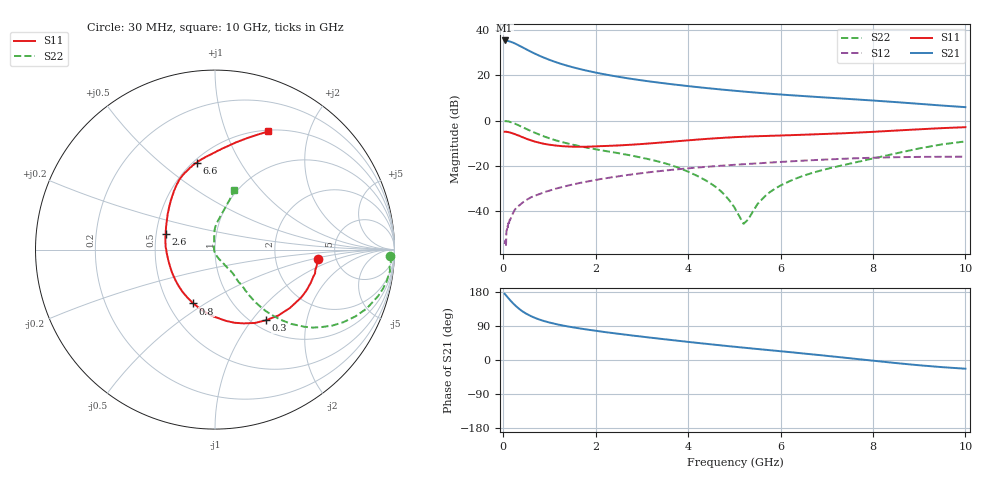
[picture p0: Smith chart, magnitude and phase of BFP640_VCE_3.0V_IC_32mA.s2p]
! Infineon Technologies  Discrete & RF Semiconductors
! BFP640
! VCE =  3.0 V,  IC =  32 mA
! Common Emitter S-Parameters:  Apr 2013
# GHz  S  MA  R  50
!  f  S11  S21  S12  S22
! GHz  MAG  ANG  MAG  ANG  MAG  ANG  MAG  ANG
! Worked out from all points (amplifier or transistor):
!   99 points, 30 MHz to 10 GHz, reference 50 ohm
!   highest |S21| = 35.5 dB at 30 MHz (marker M1)
!   |S21| within 3 dB of that: start of sweep to 414.1 MHz
!   unconditionally stable (mu >= 1): 2.168 GHz to end of sweep
!   at 350 MHz: K = 0.38, MSG = 35.2 dB, |S12| = -37.3 dB
!   at 3.5 GHz: K = 1.05, MAG = 17.9 dB, |S12| = -22.0 dB
!   at 10 GHz: K = 1.06, MAG = 9.4 dB, |S12| = -15.8 dB
!   S11 on the Smith chart (normalised r, x): 30 MHz: 3.60, -0.57; 300 MHz: 1.14, -1.18; 800 MHz: 0.66, -0.45; 2.6 GHz: 0.56, +0.11; 6.6 GHz: 0.52, +0.67; 10 GHz: 0.52, +1.42
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0.03  0.5739 -5.3  59.42 174.8  0.0019 108.2  0.9775 -2.0
0.08  0.5681 -15.4  58.56 167.7  0.0039 77.8  0.9772 -8.3
0.15  0.5496 -28.9  56.11 157.8  0.0065 76.5  0.9428 -16.2
0.2  0.5293 -37.9  53.8 151.2  0.0086 77.6  0.907 -21.2
0.25  0.509 -46.2  51.15 145.1  0.0108 73.5  0.8657 -25.5
0.3  0.4849 -54.3  48.32 139.5  0.0125 71.7  0.8215 -29.5
0.4  0.4409 -68.8  42.83 129.8  0.015 67.9  0.7357 -35.9
0.5  0.4013 -81.4  37.81 122.1  0.0178 66.2  0.6598 -40.7
0.6  0.3698 -92.6  33.49 115.7  0.0204 64.6  0.5926 -44.3
0.7  0.344 -102.6  29.87 110.5  0.0224 63.7  0.5356 -46.9
0.8  0.3235 -112.0  26.85 106.0  0.0244 62.9  0.487 -48.8
1  0.2962 -128.0  22.18 98.9  0.0287 61.7  0.4097 -51.4
1.2  0.2794 -141.5  18.8 93.2  0.0329 61.0  0.3545 -52.7
1.7  0.2669 -167.6  13.56 82.5  0.0432 58.6  0.2686 -53.1
2.1  0.2752 177.4  11.07 75.4  0.0515 56.1  0.2249 -53.9
2.6  0.2891 162.0  8.986 67.6  0.0616 52.6  0.1835 -53.4
3.4  0.33 143.0  6.893 56.0  0.0776 46.2  0.1225 -55.8
5.1  0.439 116.5  4.516 33.8  0.1081 31.5  0.0081 -120.2
6.6  0.4956 101.8  3.457 15.9  0.1333 18.3  0.0661 94.2
6.7  0.5005 100.7  3.406 14.7  0.135 17.4  0.0713 93.5
8.5  0.6082 79.0  2.582 -8.1  0.1569 -0.8  0.1905 80.5
10  0.7224 65.7  2 -23.0  0.1613 -12.8  0.3504 72.2
